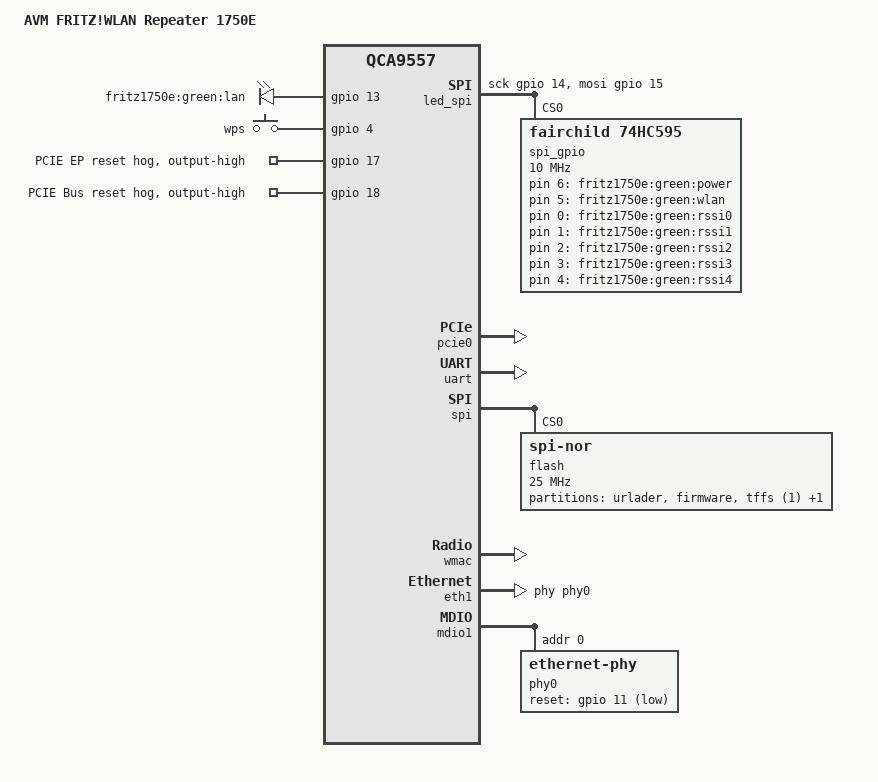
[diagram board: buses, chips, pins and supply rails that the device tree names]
// SPDX-License-Identifier: GPL-2.0-or-later OR MIT
/dts-v1/;

#include <dt-bindings/gpio/gpio.h>
#include <dt-bindings/input/input.h>

#include "qca9557.dtsi"

/ {
	compatible = "avm,fritz1750e", "qca,qca9557";
	model = "AVM FRITZ!WLAN Repeater 1750E";

	chosen {
		bootargs = "console=ttyS0,115200n8";
	};

	aliases {
		led-boot = &led_power;
		led-failsafe = &led_power;
		led-running = &led_power;
		led-upgrade = &led_power;
	};

	led_spi {
		compatible = "spi-gpio";
		#address-cells = <1>;
		#size-cells = <0>;

		sck-gpios = <&gpio 14 GPIO_ACTIVE_HIGH>;
		mosi-gpios = <&gpio 15 GPIO_ACTIVE_HIGH>;
		num-chipselects = <0>;

		spi_gpio: led_gpio@0 {
			compatible = "fairchild,74hc595";
			reg = <0>;
			gpio-controller;
			#gpio-cells = <2>;
			registers-number = <1>;
			spi-max-frequency = <10000000>;

			gpio_latch_bit {
				gpio-hog;
				gpios = <7 GPIO_ACTIVE_HIGH>;
				output-high;
				line-name = "gpio-latch-bit";
			};
		};
	};

	leds {
		compatible = "gpio-leds";

		led_power: power {
			label = "fritz1750e:green:power";
			gpios = <&spi_gpio 6 GPIO_ACTIVE_HIGH>;
		};

		wlan {
			label = "fritz1750e:green:wlan";
			gpios = <&spi_gpio 5 GPIO_ACTIVE_HIGH>;
			linux,default-trigger = "phy1tpt";
		};

		lan {
			label = "fritz1750e:green:lan";
			gpios = <&gpio 13 GPIO_ACTIVE_HIGH>;
		};

		rssi0 {
			label = "fritz1750e:green:rssi0";
			gpios = <&spi_gpio 0 GPIO_ACTIVE_HIGH>;
		};

		rssi1 {
			label = "fritz1750e:green:rssi1";
			gpios = <&spi_gpio 1 GPIO_ACTIVE_HIGH>;
		};

		rssi2 {
			label = "fritz1750e:green:rssi2";
			gpios = <&spi_gpio 2 GPIO_ACTIVE_HIGH>;
		};

		rssi3 {
			label = "fritz1750e:green:rssi3";
			gpios = <&spi_gpio 3 GPIO_ACTIVE_HIGH>;
		};

		rssi4 {
			label = "fritz1750e:green:rssi4";
			gpios = <&spi_gpio 4 GPIO_ACTIVE_HIGH>;
		};
	};

	keys {
		compatible = "gpio-keys";

		wps {
			label = "wps";
			linux,code = <KEY_WPS_BUTTON>;
			gpios = <&gpio 4 GPIO_ACTIVE_HIGH>;
		};
	};
};

&pcie0 {
	status = "okay";
};

&uart {
	status = "okay";
};

&spi {
	status = "okay";
	num-cs = <1>;

	flash@0 {
		compatible = "jedec,spi-nor";
		reg = <0>;
		spi-max-frequency = <25000000>;

		partitions {
			compatible = "fixed-partitions";
			#address-cells = <1>;
			#size-cells = <1>;

			partition@0 {
				label = "urlader";
				reg = <0x0 0x20000>;
				read-only;
			};

			partition@20000 {
				compatible = "avm,eva-firmware";
				label = "firmware";
				reg = <0x20000 0xee0000>;
			};

			partition@f00000 {
				label = "tffs (1)";
				reg = <0xf00000 0x80000>;
				read-only;
			};

			partition@f80000 {
				label = "tffs (2)";
				reg = <0xf80000 0x80000>;
				read-only;
			};
		};
	};
};

&gpio {
	reset-pcie-ep {
		gpio-hog;
		gpios = <17 GPIO_ACTIVE_HIGH>;
		output-high;
		line-name = "PCIE EP reset";
	};

	reset-pcie {
		gpio-hog;
		gpios = <18 GPIO_ACTIVE_HIGH>;
		output-high;
		line-name = "PCIE Bus reset";
	};
};

&wmac {
	status = "okay";
	qca,no-eeprom;
};

&eth1 {
	status = "okay";

	phy-handle = <&phy0>;
	pll-data = <0x3000000 0x101 0x1313>;

	gmac-config {
		device = <&gmac>;
		ge0-sgmii = <0>;
	};
};

&mdio1 {
	status = "okay";

	phy0: ethernet-phy@0 {
		reg = <0>;
		reset-gpios = <&gpio 11 GPIO_ACTIVE_LOW>;
	};
};
